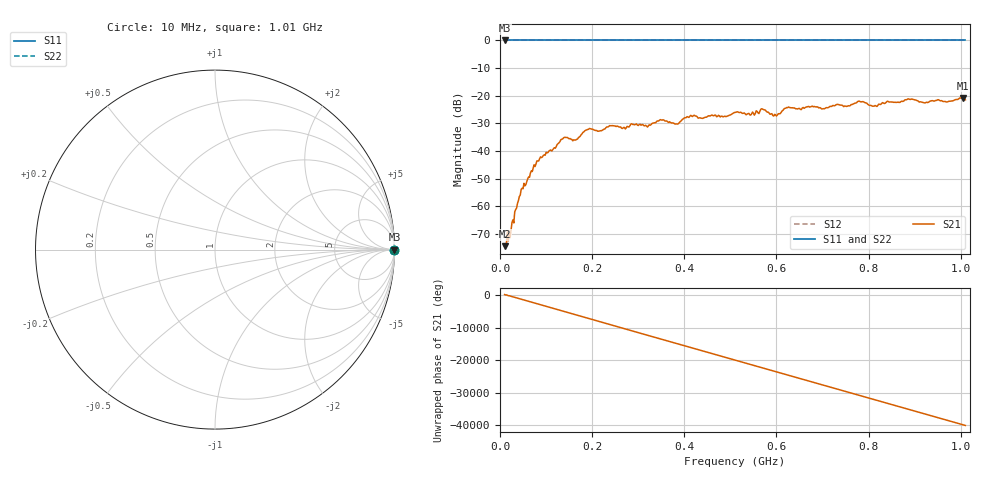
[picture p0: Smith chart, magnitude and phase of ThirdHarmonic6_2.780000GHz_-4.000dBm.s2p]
! 8/17/2025 7:07:23 AM
! C:\ANRITSUVNA\TEMP\TEMP.S2P
! CHANNEL.1
! TR.MEASUREMENT
! RAW.DATA
! RF.CORRECTION.OFF
! AVERAGING.OFF
! IF.BANDWIDTH: 5KHZ
! SWEEPTYPE:  FREQ.SWEEP(Linear)
! Reference Plane Port Info
! PORT:  PORT1  PORT2
! DISTANCE:  0  m  0  m
! TIME:  0  s  0  s
! PHASE.OFFSET:  0  deg.  0  deg.
! LOSS:  0  dB  0  dB
! REF.LOSS:  0  dB  0  dB
! REF.FREQ:  0  Hz  0  Hz
! Power Info
! POWER:  -20  dBm  -20  dBm
! EFF.POWER:  -20  dBm  -20  dBm
! SOURCE.ATTEN:  0  dB  0  dB
! TEST.ATTEN:  0  dB  0  dB
# GHZ S RI R 50.0
! FREQ.GHZ  S11RE  S11IM  S21RE  S21IM  S12RE  S12IM  S22RE  S22IM
!; PortSelection: Port_12
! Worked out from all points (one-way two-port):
!   501 points, 10 MHz to 1.01 GHz, reference 50 ohm
!   highest |S21| = -20.74 dB at 1.004 GHz (marker M1); lowest = -74.4 dB at 10 MHz (marker M2)
!   lowest |S11| = 0.0 dB at 10 MHz (marker M3)
!   |S11| at or under -10 dB: nowhere
!   |S22| runs from 0.0 to 0.0 dB; largest |S21 - S12| = 1.1
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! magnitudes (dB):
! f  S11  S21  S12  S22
! 10 MHz  0.0  -74.4  0.0  0.0
! 26 MHz  0.0  -65.8  0.0  0.0
! 48 MHz  0.0  -53.4  0.0  0.0
! 78 MHz  0.0  -44.7  0.0  0.0
! 136 MHz  0.0  -35.6  0.0  0.0
! 162 MHz  0.0  -36.0  0.0  0.0
! 178 MHz  0.0  -33.7  0.0  0.0
! 194 MHz  0.0  -31.8  0.0  0.0
! 322 MHz  0.0  -30.9  0.0  0.0
! 344 MHz  0.0  -29.1  0.0  0.0
! 384 MHz  0.0  -30.2  0.0  0.0
! 416 MHz  0.0  -27.4  0.0  0.0
! 510 MHz  0.0  -26.0  0.0  0.0
! 570 MHz  0.0  -24.8  0.0  0.0
! 596 MHz  0.0  -26.7  0.0  0.0
! 622 MHz  0.0  -24.2  0.0  0.0
! 678 MHz  0.0  -23.7  0.0  0.0
! 780 MHz  0.0  -22.0  0.0  0.0
! 814 MHz  0.0  -23.5  0.0  0.0
! 844 MHz  0.0  -22.2  0.0  0.0
! 1.004 GHz  0.0  -20.7  0.0  0.0
! 1.01 GHz  0.0  -21.4  0.0  0.0
